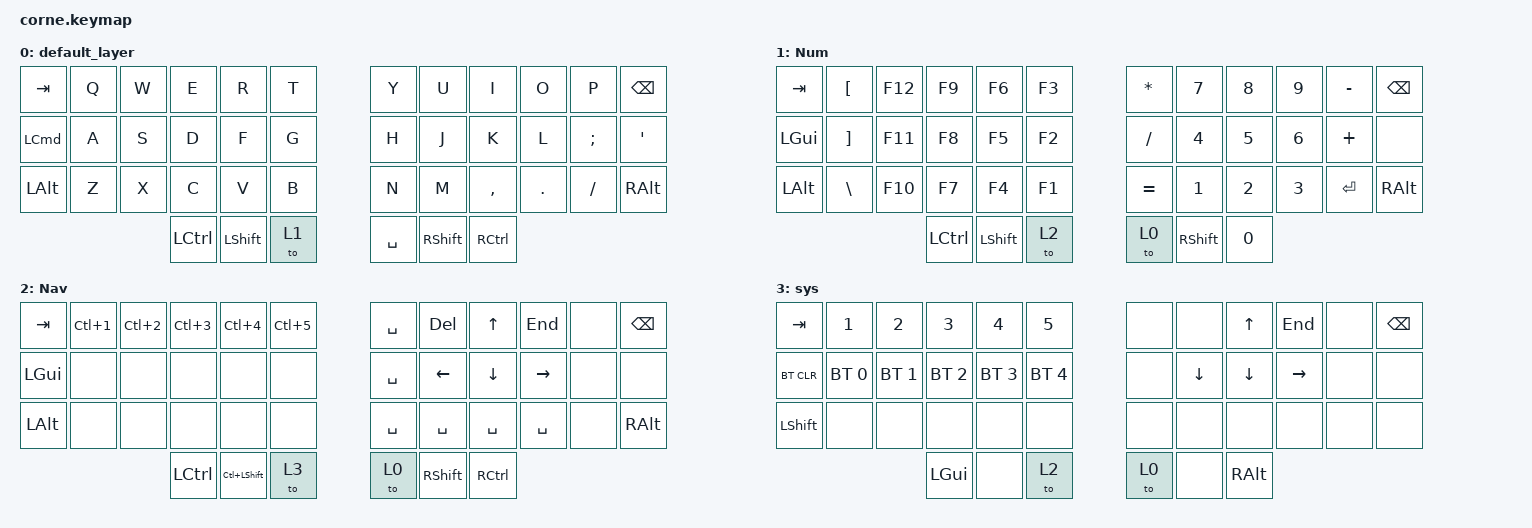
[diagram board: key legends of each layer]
/*
 * Copyright (c) 2020 The ZMK Contributors
 *
 * SPDX-License-Identifier: MIT
 */

#include <behaviors.dtsi>
#include <dt-bindings/zmk/bt.h>
#include <dt-bindings/zmk/keys.h>

/ {
    combos {
        compatible = "zmk,combos";

        enter {
            bindings = <&kp ENTER>;
            key-positions = <21 20>;
            layers = <1 2 3 0>;
        };

        cut {
            bindings = <&kp LC(X)>;
            key-positions = <26 25>;
            layers = <0 2 1 3>;
        };

        copy {
            bindings = <&kp LC(C)>;
            key-positions = <26 27>;
            layers = <0 2 1 3>;
        };

        paste {
            bindings = <&kp LC(V)>;
            key-positions = <28 27>;
            layers = <0 2 1 3>;
        };

        del_word {
            bindings = <&kp LC(BACKSPACE)>;
            key-positions = <21 22>;
            layers = <1 2 3 0>;
        };

        max_win {
            bindings = <&kp LG(UP_ARROW)>;
            key-positions = <6 7>;
            layers = <0 2 1 3>;
        };

        screenshot {
            bindings = <&kp LS(LG(S))>;
            key-positions = <15 14>;
            layers = <0 2 3 1>;
        };
    };

    keymap {
        compatible = "zmk,keymap";

        default_layer {
            // -----------------------------------------------------------------------------------------
            // |  TAB |  Q  |  W  |  E  |  R  |  T  |   |  Y  |  U   |  I  |  O  |  P  | BSPC |
            // | CTRL |  A  |  S  |  D  |  F  |  G  |   |  H  |  J   |  K  |  L  |  ;  |  '   |
            // | SHFT |  Z  |  X  |  C  |  V  |  B  |   |  N  |  M   |  ,  |  .  |  /  | ESC  |
            //                    | GUI | LWR | SPC |   | ENT | RSE  | ALT |

            bindings = <
&kp TAB   &kp Q  &kp W  &kp E      &kp R      &kp T    &kp Y      &kp U      &kp I      &kp O    &kp P     &kp BSPC
&kp LCMD  &kp A  &kp S  &kp D      &kp F      &kp G    &kp H      &kp J      &kp K      &kp L    &kp SEMI  &kp SQT
&kp LALT  &kp Z  &kp X  &kp C      &kp V      &kp B    &kp N      &kp M      &kp COMMA  &kp DOT  &kp FSLH  &kp RIGHT_ALT
                        &kp LCTRL  &kp LSHFT  &to 1    &kp SPACE  &kp RSHFT  &kp RCTRL
            >;
        };

        Num {
            // -----------------------------------------------------------------------------------------
            // |  TAB |  1  |  2  |  3  |  4  |  5  |   |  6  |  7  |  8  |  9  |  0  | BSPC |
            // | BTCLR| BT1 | BT2 | BT3 | BT4 | BT5 |   | LFT | DWN |  UP | RGT |     |      |
            // | SHFT |     |     |     |     |     |   |     |     |     |     |     |      |
            //                    | GUI |     | SPC |   | ENT |     | ALT |

            bindings = <
&kp TAB       &kp LEFT_BRACKET   &kp F12  &kp F9     &kp F6     &kp F3    &kp ASTERISK  &kp N7        &kp N8        &kp N9        &kp MINUS  &kp BSPC
&kp LEFT_GUI  &kp RIGHT_BRACKET  &kp F11  &kp F8     &kp F5     &kp F2    &kp SLASH     &kp NUMBER_4  &kp N5        &kp NUMBER_6  &kp PLUS   &none
&kp LALT      &kp BACKSLASH      &kp F10  &kp F7     &kp F4     &kp F1    &kp EQUAL     &kp NUMBER_1  &kp NUMBER_2  &kp NUMBER_3  &kp ENTER  &kp RALT
                                          &kp LCTRL  &kp LSHFT  &to 2     &to 0         &kp RSHFT     &kp N0
            >;
        };

        Nav {
            bindings = <
&kp TAB       &kp LC(N1)  &kp LC(N2)  &kp LC(N3)  &kp LC(N4)     &kp LC(N5)    &kp SPACE  &kp DEL         &kp UP_ARROW    &kp END          &none  &kp BSPC
&kp LEFT_GUI  &none       &none       &none       &none          &none         &kp SPACE  &kp LEFT_ARROW  &kp DOWN_ARROW  &kp RIGHT_ARROW  &none  &none
&kp LALT      &none       &none       &none       &none          &none         &kp SPACE  &kp SPACE       &kp SPACE       &kp SPACE        &none  &kp RALT
                                      &kp LCTRL   &kp LC(LSHFT)  &to 3         &to 0      &kp RSHFT       &kp RCTRL
            >;
        };

        sys {
            bindings = <
&kp TAB     &kp N1        &kp N2        &kp N3        &kp N4        &kp N5          &none  &none     &kp UP_ARROW    &kp END    &none  &kp BSPC
&bt BT_CLR  &bt BT_SEL 0  &bt BT_SEL 1  &bt BT_SEL 2  &bt BT_SEL 3  &bt BT_SEL 4    &none  &kp DOWN  &kp DOWN_ARROW  &kp RIGHT  &none  &none
&kp LSHFT   &none         &none         &none         &none         &none           &none  &none     &none           &none      &none  &none
                                        &kp LGUI      &none         &to 2           &to 0  &none     &kp RALT
            >;
        };
    };
};
